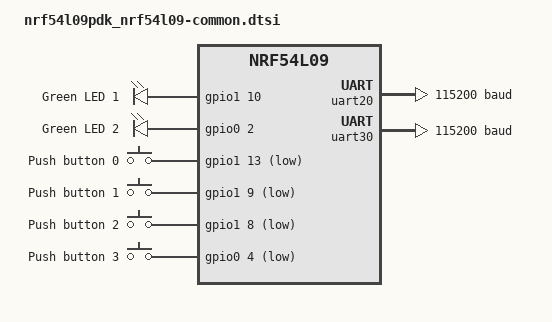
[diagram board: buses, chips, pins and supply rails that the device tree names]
/*
 * Copyright (c) 2024 Nordic Semiconductor ASA
 *
 * SPDX-License-Identifier: Apache-2.0
 */

#include "nrf54l09pdk_nrf54l09-pinctrl.dtsi"

/ {
	leds {
		compatible = "gpio-leds";
		led0: led_0 {
			gpios = <&gpio1 10 GPIO_ACTIVE_HIGH>;
			label = "Green LED 1";
		};
		led1: led_1 {
			gpios = <&gpio0 2 GPIO_ACTIVE_HIGH>;
			label = "Green LED 2";
		};
	};

	buttons {
		compatible = "gpio-keys";
		button0: button_0 {
			gpios = <&gpio1 13 (GPIO_PULL_UP | GPIO_ACTIVE_LOW)>;
			label = "Push button 0";
			zephyr,code = <INPUT_KEY_0>;
		};
		button1: button_1 {
			gpios = <&gpio1 9 (GPIO_PULL_UP | GPIO_ACTIVE_LOW)>;
			label = "Push button 1";
			zephyr,code = <INPUT_KEY_1>;
		};
		button2: button_2 {
			gpios = <&gpio1 8 (GPIO_PULL_UP | GPIO_ACTIVE_LOW)>;
			label = "Push button 2";
			zephyr,code = <INPUT_KEY_2>;
		};
		button3: button_3 {
			gpios = <&gpio0 4 (GPIO_PULL_UP | GPIO_ACTIVE_LOW)>;
			label = "Push button 3";
			zephyr,code = <INPUT_KEY_3>;
		};
	};

	aliases {
		led0 = &led0;
		led1 = &led1;
		sw0 = &button0;
		sw1 = &button1;
		sw2 = &button2;
		sw3 = &button3;
		watchdog0 = &wdt31;
	};
};

&uart20 {
	current-speed = <115200>;
	pinctrl-0 = <&uart20_default>;
	pinctrl-1 = <&uart20_sleep>;
	pinctrl-names = "default", "sleep";
};

&uart30 {
	current-speed = <115200>;
	pinctrl-0 = <&uart30_default>;
	pinctrl-1 = <&uart30_sleep>;
	pinctrl-names = "default", "sleep";
};

&hfpll {
	/* For now use 64 MHz clock for CPU and fast peripherals. */
	clock-frequency = <DT_FREQ_M(64)>;
};
